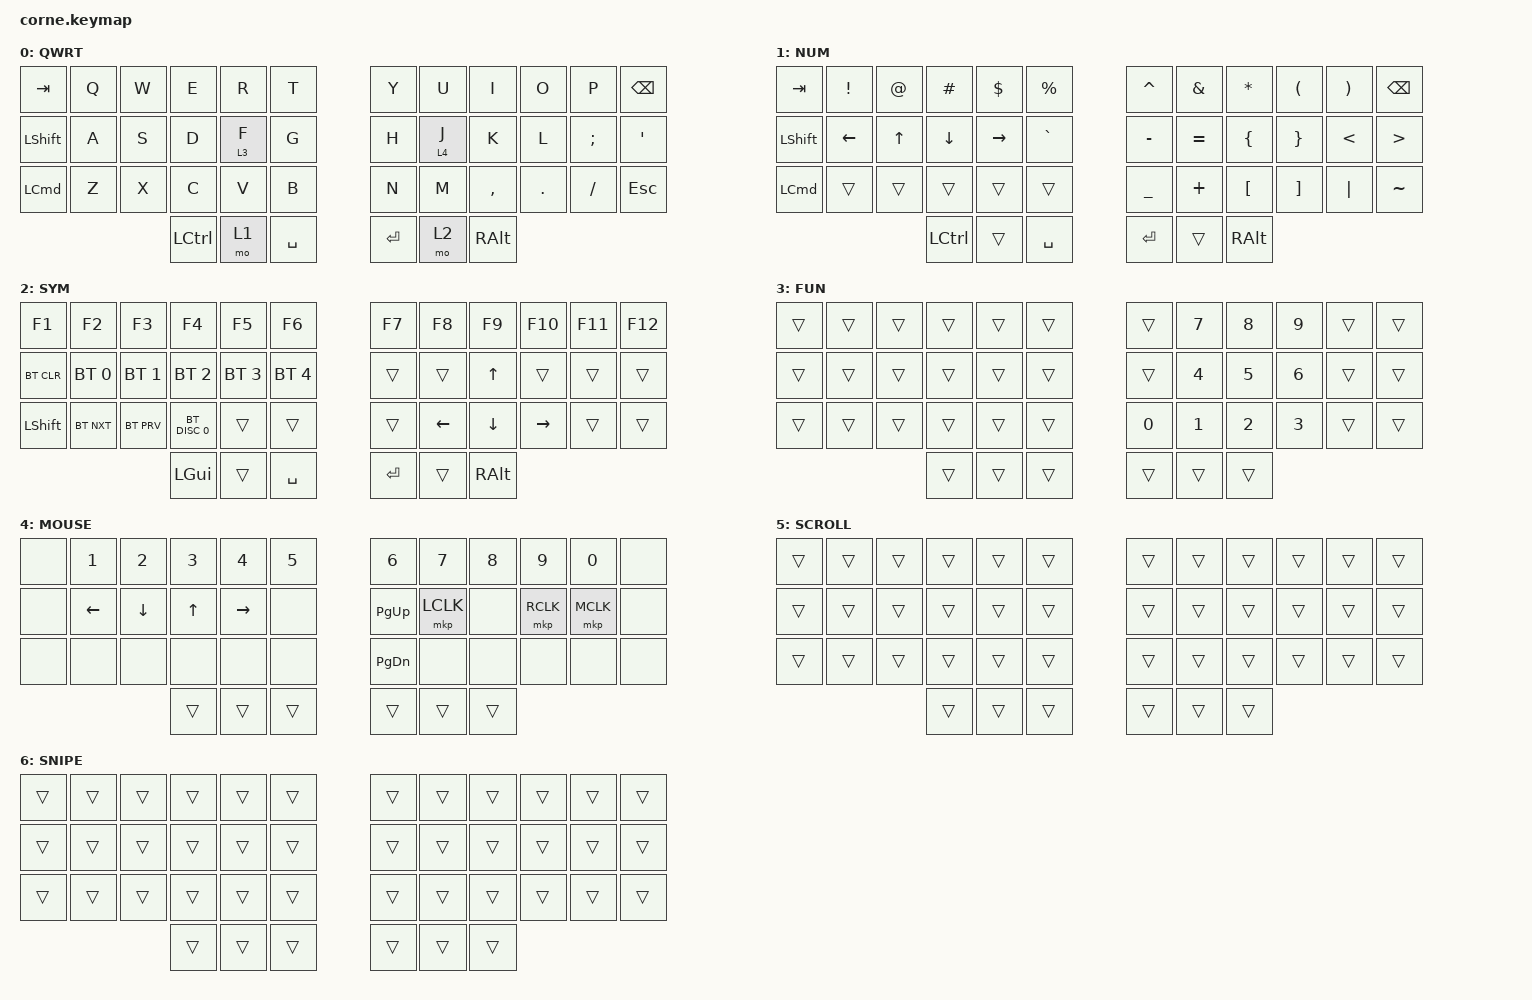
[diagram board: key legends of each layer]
/*
 * Copyright (c) 2020 The ZMK Contributors
 *
 * SPDX-License-Identifier: MIT
 */

#define DEFAULT 0
#define NUM     1
#define SYM     2
#define FUN     3
#define MOUSE   4
#define SCROLL  5
#define SNIPE   6

#include <behaviors/mouse_keys.dtsi>
#include <dt-bindings/zmk/mouse.h>
#include <behaviors.dtsi>
#include <dt-bindings/zmk/bt.h>
#include <dt-bindings/zmk/keys.h>
#include <dt-bindings/zmk/pointing.h>

&lt {
    tapping-term-ms = <240>;
    flavor = "balanced";
    quick-tap-ms = <150>;
};

&mt {
    tapping-term-ms = <200>;
    flavor = "tap-preferred";
    quick-tap-ms = <150>;
};

&caps_word { continue-list = <UNDERSCORE MINUS>; };

/ {
    // custom shift using mod-morph 

    behaviors {
        cmqus: comma_question {
            compatible = "zmk,behavior-mod-morph";
            label = "COMMA_QUESTION";
            #binding-cells = <0>;
            bindings = <&kp COMMA>, <&kp QUESTION>;

            mods = <(MOD_LSFT|MOD_RSFT)>;
        };

        dtsmi: dot_semi {
            compatible = "zmk,behavior-mod-morph";
            label = "DOT_SEMI";
            #binding-cells = <0>;
            bindings = <&kp DOT>, <&kp SEMI>;

            mods = <(MOD_LSFT|MOD_RSFT)>;
        };
    };

    keymap {
        compatible = "zmk,keymap";

        default_layer {
            label = "QWRT";

            // -----------------------------------------------------------------------------------------
            // |  TAB |  Q  |  W  |  E  |  R  |  T  |   |  Y  |  U   |  I  |  O  |  P  | BKSP |
            // | CTRL |  A  |  S  |  D  |  F  |  G  |   |  H  |  J   |  K  |  L  |  ;  |  '   |
            // | SHFT |  Z  |  X  |  C  |  V  |  B  |   |  N  |  M   |  ,  |  .  |  /  | ESC  |
            //                    | GUI | LWR | SPC |   | ENT | RSE  | ALT |

            bindings = <
&kp TAB           &kp Q  &kp W  &kp E             &kp R    &kp T        &kp Y    &kp U    &kp I      &kp O    &kp P     &kp BSPC
&kp LEFT_SHIFT    &kp A  &kp S  &kp D             &lt 3 F  &kp G        &kp H    &lt 4 J  &kp K      &kp L    &kp SEMI  &kp SQT
&kp LEFT_COMMAND  &kp Z  &kp X  &kp C             &kp V    &kp B        &kp N    &kp M    &kp COMMA  &kp DOT  &kp FSLH  &kp ESC
                                &kp LEFT_CONTROL  &mo 1    &kp SPACE    &kp RET  &mo 2    &kp RALT
            >;
        };

        number_layer {
            label = "NUM";

            // -----------------------------------------------------------------------------------------
            // |  TAB |  !  |  @  |  #  |  $  |  %  |   |  ^  |  &  |  *  |  (  |  )  | BKSP |
            // | CTRL |     |     |     |     |     |   |  -  |  =  |  [  |  ]  |  \  |  `   |
            // | SHFT |     |     |     |     |     |   |  _  |  +  |  {  |  }  | "|" |  ~   |
            //                    | GUI |     | SPC |   | ENT |     | ALT |

            bindings = <
&kp TAB           &kp EXCLAMATION  &kp AT_SIGN   &kp HASH          &kp DOLLAR       &kp PERCENT    &kp CARET  &kp AMPERSAND  &kp ASTERISK      &kp LEFT_PARENTHESIS  &kp RIGHT_PARENTHESIS  &kp BSPC
&kp LEFT_SHIFT    &kp LEFT         &kp UP_ARROW  &kp DOWN_ARROW    &kp RIGHT_ARROW  &kp GRAVE      &kp MINUS  &kp EQUAL      &kp LEFT_BRACE    &kp RIGHT_BRACE       &kp LESS_THAN          &kp GREATER_THAN
&kp LEFT_COMMAND  &trans           &trans        &trans            &trans           &trans         &kp UNDER  &kp PLUS       &kp LEFT_BRACKET  &kp RIGHT_BRACKET     &kp PIPE               &kp TILDE
                                                 &kp LEFT_CONTROL  &trans           &kp SPACE      &kp RET    &trans         &kp RALT
            >;
        };

        symbol_layer {
            label = "SYM";

            // -----------------------------------------------------------------------------------------
            // |  TAB |  1  |  2  |  3  |  4  |  5  |   |  6  |  7  |  8  |  9  |  0  | BKSP |
            // | BTCLR| BT1 | BT2 | BT3 | BT4 | BT5 |   | LFT | DWN |  UP | RGT |     |      |
            // | SHFT |     |     |     |     |     |   |     |     |     |     |     |      |
            //                    | GUI |     | SPC |   | ENT |     | ALT |

            bindings = <
&kp F1      &kp F2        &kp F3        &kp F4         &kp F5        &kp F6          &kp F7   &kp F8          &kp F9          &kp F10          &kp F11  &kp F12
&bt BT_CLR  &bt BT_SEL 0  &bt BT_SEL 1  &bt BT_SEL 2   &bt BT_SEL 3  &bt BT_SEL 4    &trans   &trans          &kp UP          &trans           &trans   &trans
&kp LSHFT   &bt BT_NXT    &bt BT_PRV    &bt BT_DISC 0  &trans        &trans          &trans   &kp LEFT_ARROW  &kp DOWN_ARROW  &kp RIGHT_ARROW  &trans   &trans
                                        &kp LGUI       &trans        &kp SPACE       &kp RET  &trans          &kp RALT
            >;
        };

        function_layer {
            label = "FUN";
            bindings = <
&trans  &trans  &trans  &trans  &trans  &trans    &trans        &kp NUMBER_7  &kp NUMBER_8  &kp NUMBER_9  &trans  &trans
&trans  &trans  &trans  &trans  &trans  &trans    &trans        &kp NUMBER_4  &kp NUMBER_5  &kp NUMBER_6  &trans  &trans
&trans  &trans  &trans  &trans  &trans  &trans    &kp NUMBER_0  &kp NUMBER_1  &kp NUMBER_2  &kp NUMBER_3  &trans  &trans
                        &trans  &trans  &trans    &trans        &trans        &trans
            >;
        };

        mouse_layer {
            label = "MOUSE";
            bindings = <
&none  &kp N1          &kp N2          &kp N3        &kp N4     &kp N5    &kp N6         &kp N7     &kp N8  &kp N9     &kp N0     &none
&none  &kp LEFT_ARROW  &kp DOWN_ARROW  &kp UP_ARROW  &kp RIGHT  &none     &kp PAGE_UP    &mkp LCLK  &none   &mkp RCLK  &mkp MCLK  &none
&none  &none           &none           &none         &none      &none     &kp PAGE_DOWN  &none      &none   &none      &none      &none
                                       &trans        &trans     &trans    &trans         &trans     &trans
            >;
        };

        scroll_layer {
            label = "SCROLL";
            bindings = <
&trans  &trans  &trans  &trans  &trans  &trans    &trans  &trans  &trans  &trans  &trans  &trans
&trans  &trans  &trans  &trans  &trans  &trans    &trans  &trans  &trans  &trans  &trans  &trans
&trans  &trans  &trans  &trans  &trans  &trans    &trans  &trans  &trans  &trans  &trans  &trans
                        &trans  &trans  &trans    &trans  &trans  &trans
            >;
        };

        snipe_layer {
            label = "SNIPE";
            bindings = <
&trans  &trans  &trans  &trans  &trans  &trans    &trans  &trans  &trans  &trans  &trans  &trans
&trans  &trans  &trans  &trans  &trans  &trans    &trans  &trans  &trans  &trans  &trans  &trans
&trans  &trans  &trans  &trans  &trans  &trans    &trans  &trans  &trans  &trans  &trans  &trans
                        &trans  &trans  &trans    &trans  &trans  &trans
            >;
        };
    };
};
